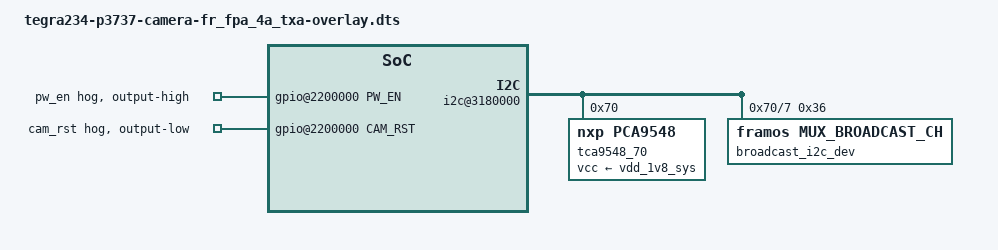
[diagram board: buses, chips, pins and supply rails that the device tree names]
// SPDX-License-Identifier: GPL-2.0
/*
 * Copyright (c) 2024 Framos. All rights reserved.
 *
 * tegra234-p3737-camera-fr_fpa_4a_txa-overlay.dts - FPA-4.A/TXA device tree
 */

/dts-v1/;
/plugin/;

#include <dt-bindings/clock/tegra234-clock.h>
#include <dt-bindings/gpio/tegra234-gpio.h>
#include <dt-bindings/tegra234-p3737-0000+p3701-0000.h>


#define CAM_RST	TEGRA234_MAIN_GPIO(H, 3)
#define PW_EN	TEGRA234_MAIN_GPIO(H, 6)
#define CRESETB TEGRA234_MAIN_GPIO(AC, 0)

/ {
	overlay-name = "Framos FPA-4.A/TXA";
	jetson-header-name = "Jetson AGX CSI Connector";
	compatible = JETSON_COMPATIBLE;

	fragment@0 {
		target-path = "/";
		__overlay__ {
			framos_platform_adapter {
				cam,use-cam-gpio = "true";
			};
			tegra-camera-platform {
				num_csi_lanes = <16>;
				max_lane_speed = <2500000>;
				min_bits_per_pixel = <10>;
				vi_peak_byte_per_pixel = <2>;
				vi_bw_margin_pct = <25>;
				isp_peak_byte_per_pixel = <5>;
				isp_bw_margin_pct = <25>;
				modules {
					status = "okay";
					sensor_module0: module0 {
						status = "disabled";
						position = "bottomleft";
						orientation = "1";
						drivernode0 {
							status = "disabled";
							pcl_id = "v4l2_sensor";
						};
					};
					sensor_module1: module1 {
						status = "disabled";
						position = "centerright";
						orientation = "1";
						drivernode0 {
							status = "disabled";
							pcl_id = "v4l2_sensor";
						};
					};
					sensor_module2: module2 {
						status = "disabled";
						position = "bottomright";
						orientation = "1";
						drivernode0 {
							status = "disabled";
							pcl_id = "v4l2_sensor";
						};
					};
					sensor_module3: module3 {
						status = "disabled";
						position = "topright";
						orientation = "1";
						drivernode0 {
							status = "disabled";
							pcl_id = "v4l2_sensor";
						};
					};
				};
			};
			tegra-capture-vi {
				num-channels=<6>;
				ports {
					status = "okay";
					sensor_vi_port0: port@0 {
						reg = <0>;
						status = "disabled";
						sensor_vi_in0: endpoint {
							status = "disabled";
							vc-id = <0>;
							port-index = <0>;
							remote-endpoint = <&sensor_csi_ch0_out>;
						};
					};
					sensor_vi_port1: port@1 {
						reg = <1>;
						status = "disabled";
						sensor_vi_in1: endpoint {
							status = "disabled";
							vc-id = <0>;
							port-index = <1>;
							remote-endpoint = <&sensor_csi_ch1_out>;
						};
					};
					sensor_vi_port2: port@2 {
						reg = <2>;
						status = "disabled";
						sensor_vi_in2: endpoint {
							status = "disabled";
							vc-id = <0>;
							port-index = <2>;
							remote-endpoint = <&sensor_csi_ch2_out>;
						};
					};
					sensor_vi_port3: port@3 {
						reg = <3>;
						status = "disabled";
						sensor_vi_in3: endpoint {
							status = "disabled";
							vc-id = <0>;
							port-index = <3>;
							remote-endpoint = <&sensor_csi_ch3_out>;
						};
					};
					sensor_vi_port4: port@4 {
						reg = <4>;
						status = "disabled";
						sensor_vi_in4: endpoint {
							status = "disabled";
							vc-id = <0>;
							port-index = <4>;
							remote-endpoint = <&sensor_csi_ch4_out>;
						};
					};
					sensor_vi_port5: port@5 {
						reg = <5>;
						status = "disabled";
						sensor_vi_in5: endpoint {
							status = "disabled";
							vc-id = <0>;
							port-index = <5>;
							remote-endpoint = <&sensor_csi_ch6_out>;
						};
					};
				};
			};
		};
	};

	fragment@1 {
		target-path = "/bus@0";
		__overlay__ {
			host1x@13e00000 {
				nvcsi@15a00000 {
					num-channels=<8>;
					sensor_csi_ch0: channel@0 {
						reg = <0>;
						status = "disabled";
						ports {
							status = "disabled";
							sensor_csi_ch0_port0: port@0 {
								reg = <0>;
								status = "disabled";
								sensor_csi_ch0_in: endpoint@0 {
									status = "disabled";
									port-index = <0>;
								};
							};
							sensor_csi_ch0_port1: port@1 {
								reg = <1>;
								status = "disabled";
								sensor_csi_ch0_out: endpoint@1 {
									status = "disabled";
									remote-endpoint = <&sensor_vi_in0>;
								};
							};
						};
					};
					sensor_csi_ch1: channel@1 {
						reg = <1>;
						status = "disabled";
						ports {
							status = "disabled";
							sensor_csi_ch1_port0: port@0 {
								reg = <0>;
								status = "disabled";
								sensor_csi_ch1_in: endpoint@2 {
									status = "disabled";
									port-index = <1>;
								};
							};
							sensor_csi_ch1_port1: port@1 {
								reg = <1>;
								status = "disabled";
								sensor_csi_ch1_out: endpoint@3 {
									status = "disabled";
									remote-endpoint = <&sensor_vi_in1>;
								};
							};
						};
					};
					sensor_csi_ch2: channel@2 {
						reg = <2>;
						status = "disabled";
						ports {
							status = "disabled";
							sensor_csi_ch2_port0: port@0 {
								reg = <0>;
								status = "disabled";
								sensor_csi_ch2_in: endpoint@4 {
									status = "disabled";
									port-index = <2>;
								};
							};
							sensor_csi_ch2_port1: port@1 {
								reg = <1>;
								status = "disabled";
								sensor_csi_ch2_out: endpoint@5 {
									status = "disabled";
									remote-endpoint = <&sensor_vi_in2>;
								};
							};
						};
					};
					sensor_csi_ch3: channel@3 {
						reg = <3>;
						status = "disabled";
						ports {
							status = "disabled";
							sensor_csi_ch3_port0: port@0 {
								reg = <0>;
								status = "disabled";
								sensor_csi_ch3_in: endpoint@6 {
									status = "disabled";
									port-index = <3>;
								};
							};
							sensor_csi_ch3_port1: port@1 {
								reg = <1>;
								status = "disabled";
								sensor_csi_ch3_out: endpoint@7 {
									status = "disabled";
									remote-endpoint = <&sensor_vi_in3>;
								};
							};
						};
					};
					sensor_csi_ch4: channel@4 {
						reg = <4>;
						status = "disabled";
						ports {
							status = "disabled";
							sensor_csi_ch4_port0: port@0 {
								reg = <0>;
								status = "disabled";
								sensor_csi_ch4_in: endpoint@8 {
									status = "disabled";
									port-index = <4>;
								};
							};
							sensor_csi_ch4_port1: port@1 {
								reg = <1>;
								status = "disabled";
								sensor_csi_ch4_out: endpoint@9 {
									status = "disabled";
									remote-endpoint = <&sensor_vi_in4>;
								};
							};
						};
					};
					sensor_csi_ch5: channel@5 {
						reg = <5>;
						status = "disabled";
						ports {
							status = "disabled";
							sensor_csi_ch5_port0: port@0 {
								reg = <0>;
								status = "disabled";
								sensor_csi_ch5_in: endpoint@10 {
									status = "disabled";
									port-index = <5>;
								};
							};
							sensor_csi_ch5_port1: port@1 {
								reg = <1>;
								status = "disabled";
								sensor_csi_ch5_out: endpoint@11 {
									status = "disabled";
									remote-endpoint = <&sensor_vi_in4>;
								};
							};
						};
					};
					sensor_csi_ch6: channel@6 {
						reg = <6>;
						status = "disabled";
						ports {
							status = "disabled";
							sensor_csi_ch6_port0: port@0 {
								reg = <0>;
								status = "disabled";
								sensor_csi_ch6_in: endpoint@12 {
									status = "disabled";
									port-index = <6>;
								};
							};
							sensor_csi_ch6_port1: port@1 {
								reg = <1>;
								status = "disabled";
								sensor_csi_ch6_out: endpoint@13 {
									status = "disabled";
									remote-endpoint = <&sensor_vi_in5>;
								};
							};
						};
					};
					sensor_csi_ch7: channel@7 {
						reg = <7>;
						status = "disabled";
						ports {
							status = "disabled";
							sensor_csi_ch7_port0: port@0 {
								reg = <0>;
								status = "disabled";
								sensor_csi_ch7_in: endpoint@14 {
									status = "disabled";
									port-index = <7>;
								};
							};
							sensor_csi_ch7_port1: port@1 {
								reg = <1>;
								status = "disabled";
								sensor_csi_ch7_out: endpoint@15 {
									status = "disabled";
									remote-endpoint = <&sensor_vi_in5>;
								};
							};
						};
					};
				};

				vi0@15c00000 {
					dma-noncoherent;
				};

				vi0-thi@15f00000 {
					dma-noncoherent;
				};

				vi1@14c00000 {
					dma-noncoherent;
				};

				vi1-thi@14f00000 {
					dma-noncoherent;
				};
			};
			gpio@2200000 {
				camera-control-output-low {
					status = "disabled";
				};
				som_gpio_pw_en-hog {
					gpio-hog;
					output-high;
					gpios = <PW_EN 0>;
					label = "pw_en";
					status = "okay";
				};
				som_gpio_cresetb {
					output-high;
					gpios = <CRESETB 0>;
					label = "cresetb";
					status = "okay";
				};
				som_gpio_cam_rst-hog {
					gpio-hog;
					output-low;
					gpios = <CAM_RST 0>;
					label = "cam_rst";
					status = "okay";
				};
			};
			i2c@3180000 {
				status = "okay";
				tca9548_70: tca9548@70 {
					status = "okay";
					compatible = "nxp,pca9548";
					reg = <0x70>;
					#address-cells = <1>;
					#size-cells = <0>;
					skip_mux_detect;
					vcc-supply = <&vdd_1v8_sys>;
				};
			};
		};
	};

	fragment@2 {
		target = <&tca9548_70>;
		__overlay__ {
			/* Channel connected to J5 */
			tca9548_70_i2c0: i2c@0 {
				status = "okay";
				reg = <0>;
				i2c-mux,deselect-on-exit;
				#address-cells = <1>;
				#size-cells = <0>;
				reset-gpios = <&gpio CAM_RST GPIO_ACTIVE_HIGH>;
				cresetb = <&gpio CRESETB GPIO_ACTIVE_HIGH>;
				pwdn-gpios = <&gpio PW_EN GPIO_ACTIVE_HIGH>;
			};
			/* Channel connected to J6 */
			tca9548_70_i2c2: i2c@2 {
				status = "okay";
				reg = <2>;
				i2c-mux,deselect-on-exit;
				#address-cells = <1>;
				#size-cells = <0>;
				reset-gpios = <&gpio CAM_RST GPIO_ACTIVE_HIGH>;
				cresetb = <&gpio CRESETB GPIO_ACTIVE_HIGH>;
				pwdn-gpios = <&gpio PW_EN GPIO_ACTIVE_HIGH>;
			};
			/* Channel connected to J7 */
			tca9548_70_i2c4: i2c@4 {
				status = "okay";
				reg = <4>;
				i2c-mux,deselect-on-exit;
				#address-cells = <1>;
				#size-cells = <0>;
				reset-gpios = <&gpio CAM_RST GPIO_ACTIVE_HIGH>;
				cresetb = <&gpio CRESETB GPIO_ACTIVE_HIGH>;
				pwdn-gpios = <&gpio PW_EN GPIO_ACTIVE_HIGH>;
			};
			/* Channel connected to J8 */
			tca9548_70_i2c6: i2c@6 {
				status = "okay";
				reg = <6>;
				i2c-mux,deselect-on-exit;
				#address-cells = <1>;
				#size-cells = <0>;
				reset-gpios = <&gpio CAM_RST GPIO_ACTIVE_HIGH>;
				cresetb = <&gpio CRESETB GPIO_ACTIVE_HIGH>;
				pwdn-gpios = <&gpio PW_EN GPIO_ACTIVE_HIGH>;
			};
			/* Broadcast MUX channel */
			tca9548_70_i2c7: i2c@7 {
				reg = <7>;
				i2c-mux,deselect-on-exit;
				#address-cells = <1>;
				#size-cells = <0>;
			};
		};
	};

	fragment@3 {
		target = <&tca9548_70_i2c7>;
		__overlay__ {
			broadcast_i2c_dev: broadcast_i2c_dev@36 {
				compatible = "framos, mux_broadcast_ch";
				device="i2c-mux";
				reg = <0x36>;
			};
		};
	};

};
